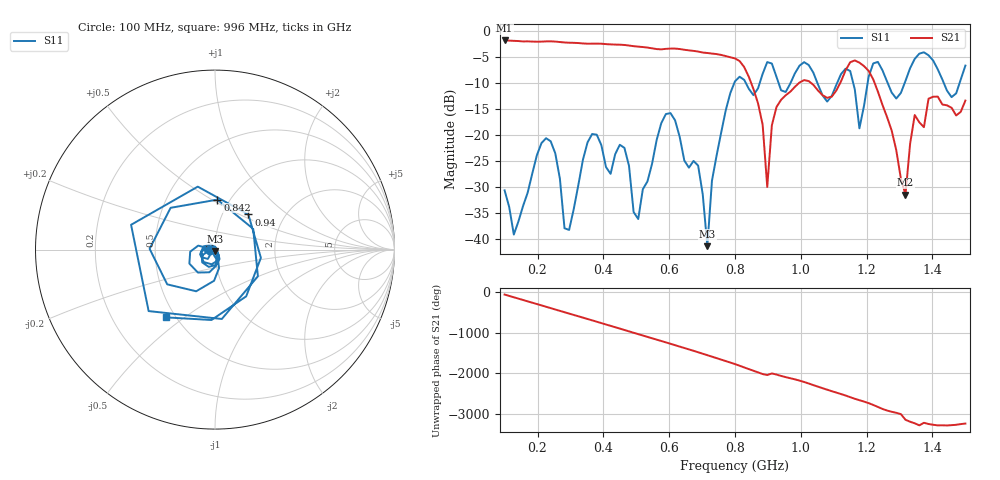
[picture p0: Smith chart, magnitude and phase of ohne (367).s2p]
! NanoVNA-App
! Date: 2025-09-25 14:23:39
! Start: 100MHz Stop: 1,5GHz Points: 101
! S-Parameter data: F S11 S21 S12 S22
# Hz S RI R 50
!  Frequency  S11_Real  S11_Imag  S21_Real  S21_Imag  S12_Real  S12_Imag  S22_Real  S22_Imag
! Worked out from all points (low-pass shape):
!   101 points, 100 MHz to 1.5 GHz, reference 50 ohm
!   highest |S21| = -1.79 dB at 100 MHz (marker M1); lowest = -31.5 dB at 1.318 GHz (marker M2)
!   |S21| within 3 dB of the highest: start of sweep to 771.3 MHz
!   lowest |S11| = -41.4 dB at 716 MHz (marker M3), VSWR 1.02, Z = 49.8 - j0.834 ohm
!   |S11| at or under -10 dB: start of sweep to 797.8 MHz; 833.1 MHz to 875.1 MHz (42 MHz wide, 4.92 % of centre); 1.05 GHz to 1.11 GHz (59.72 MHz wide, 5.53 % of centre) (the widest 3 of 7)
!   S12 and S22 are empty: the file has one direction only
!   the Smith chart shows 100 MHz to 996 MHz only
!   S11 on the Smith chart (normalised r, x): 100 MHz: 0.94, -0.01; 842 MHz: 0.88, +0.53; 940 MHz: 1.32, +0.56; 996 MHz: 0.45, -0.43
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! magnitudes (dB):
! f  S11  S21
! 100 MHz  -30.6  -1.8
! 128 MHz  -39.1  -1.9
! 226 MHz  -20.6  -2.0
! 296 MHz  -38.2  -2.2
! 338 MHz  -24.7  -2.4
! 464 MHz  -22.5  -2.7
! 506 MHz  -36.1  -3.0
! 576 MHz  -17.7  -3.5
! 688 MHz  -25.9  -3.9
! 716 MHz  -41.4  -4.2
! 800 MHz  -9.7  -5.3
! 842 MHz  -11.1  -8.8
! 898 MHz  -6.0  -30.0
! 940 MHz  -11.4  -13.2
! 996 MHz  -6.6  -9.9
! 1.038 GHz  -8.0  -10.3
! 1.178 GHz  -18.7  -6.1
! 1.22 GHz  -6.2  -9.3
! 1.276 GHz  -11.8  -19.1
! 1.318 GHz  -9.6  -31.5
! 1.346 GHz  -5.3  -16.1
! 1.5 GHz  -6.6  -13.4
